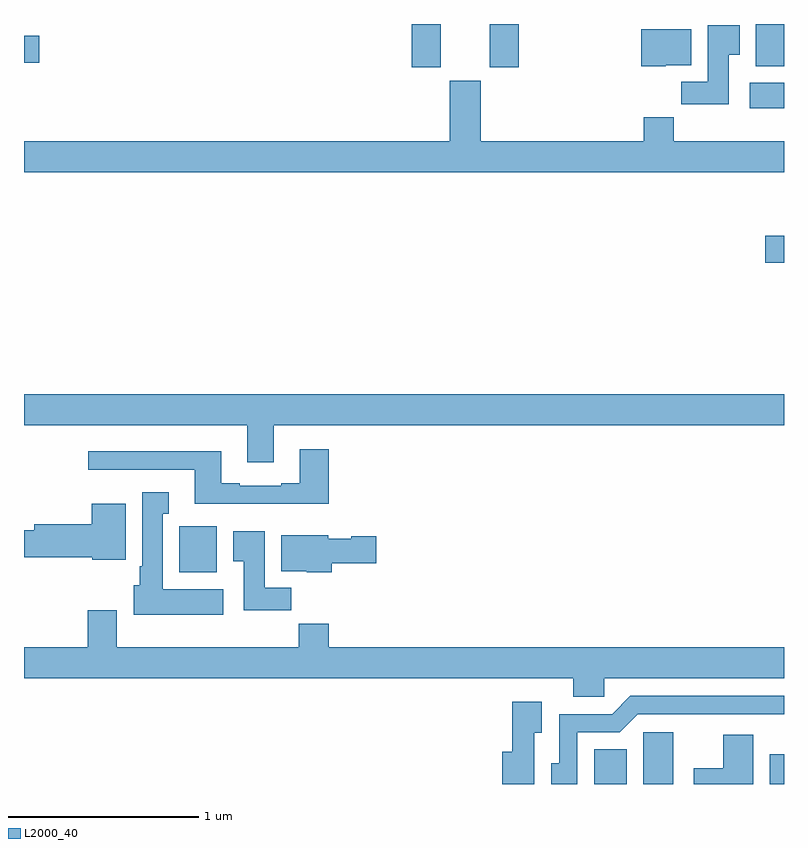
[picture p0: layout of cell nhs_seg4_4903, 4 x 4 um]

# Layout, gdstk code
import gdstk
lib = gdstk.Library(unit=1e-6, precision=1e-09)
def R(c, l, rs):  # rectangles x0, y0, x1, y1
    for r in rs: c.add(gdstk.rectangle(r[:2], r[2:], *l))
def P(c, l, *ps):  # polygons
    for p in ps: c.add(gdstk.Polygon(p, *l))
L2000_40 = (2000, 40)

nhs_seg4_4903 = lib.new_cell('nhs_seg4_4903')
R(nhs_seg4_4903, L2000_40, [(378.002,826.9,378.172,827.083), (378.26,826.9,378.418,827.173), (378.926,826.9,379,827.056), (375.818,828.014,376.015,828.256), (378.9,829.643,379,829.785), (378.819,830.456,379,830.59), (377.042,830.673,377.194,830.9), (377.45,830.673,377.603,830.9), (378.851,830.678,379,830.9), (375,830.695,375.079,830.837)])
P(nhs_seg4_4903, L2000_40, [(378.709,830.737),(378.766,830.737),(378.766,830.893),(378.599,830.893),(378.599,830.596),(378.46,830.596),(378.46,830.478),(378.709,830.478)],
  [(378.378,830.684),(378.511,830.684),(378.511,830.872),(378.248,830.872),(378.248,830.678),(378.378,830.678)],
  [(379,830.284),(378.419,830.284),(378.419,830.408),(378.263,830.408),(378.263,830.284),(377.404,830.284),(377.404,830.601),(377.24,830.601),(377.24,830.284),(375,830.284),(375,830.12),(379,830.12)],
  [(376.315,828.788),(379,828.788),(379,828.952),(375,828.952),(375,828.788),(376.175,828.788),(376.175,828.594),(376.315,828.594)],
  [(376.604,828.661),(376.451,828.661),(376.451,828.484),(376.355,828.484),(376.355,828.471),(376.135,828.471),(376.135,828.484),(376.039,828.484),(376.039,828.652),(375.339,828.652),(375.339,828.555),(375.899,828.555),(375.899,828.374),(376.604,828.374)],
  [(376.048,827.926),(375.73,827.926),(375.73,828.323),(375.763,828.323),(375.763,828.436),(375.623,828.436),(375.623,828.046),(375.608,828.046),(375.608,827.946),(375.578,827.946),(375.578,827.792),(376.048,827.792)],
  [(375.535,828.376),(375.356,828.376),(375.356,828.266),(375.053,828.266),(375.053,828.236),(375,828.236),(375,828.094),(375.36,828.094),(375.36,828.08),(375.535,828.08)],
  [(376.406,827.932),(376.267,827.932),(376.267,828.229),(376.1,828.229),(376.1,828.073),(376.157,828.073),(376.157,827.814),(376.406,827.814)],
  [(376.619,828.061),(376.855,828.061),(376.855,828.203),(376.722,828.203),(376.722,828.19),(376.602,828.19),(376.602,828.208),(376.355,828.208),(376.355,828.02),(376.488,828.02),(376.488,828.014),(376.619,828.014)],
  [(378.054,827.456),(379,827.456),(379,827.62),(376.604,827.62),(376.604,827.744),(376.447,827.744),(376.447,827.62),(375.487,827.62),(375.487,827.815),(375.335,827.815),(375.335,827.62),(375,827.62),(375,827.456),(377.891,827.456),(377.891,827.358),(378.054,827.358)],
  [(377.913,827.172),(378.135,827.172),(378.231,827.268),(379,827.268),(379,827.364),(378.192,827.364),(378.096,827.268),(377.816,827.268),(377.816,827.008),(377.774,827.008),(377.774,826.9),(377.913,826.9)],
  [(377.686,827.171),(377.725,827.171),(377.725,827.332),(377.569,827.332),(377.569,827.071),(377.516,827.071),(377.516,826.9),(377.686,826.9)],
  [(378.838,827.158),(378.68,827.158),(378.68,826.984),(378.525,826.984),(378.525,826.9),(378.838,826.9)])

lib.write_gds('nhs_seg4_4903.gds')
